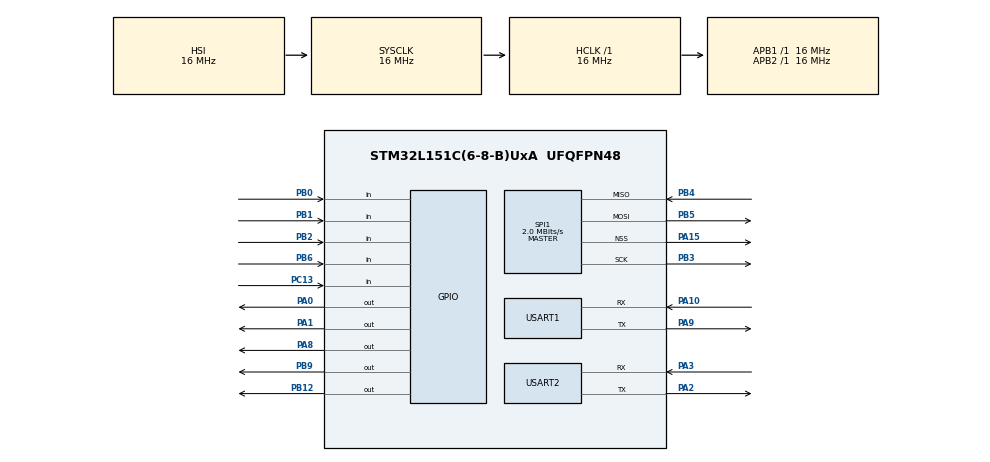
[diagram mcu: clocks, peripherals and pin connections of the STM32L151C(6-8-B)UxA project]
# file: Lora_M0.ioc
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Mcu.Family=STM32L1
Mcu.Name=STM32L151C(6-8-B)UxA
Mcu.Package=UFQFPN48
NVIC.PriorityGroup=NVIC_PRIORITYGROUP_4
NVIC.USART2_IRQn=true\:0\:0\:false\:false\:true\:true\:true
PA0-WKUP1.PinState=GPIO_PIN_SET
PA0-WKUP1.Signal=GPIO_Output
PA1.PinState=GPIO_PIN_SET
PA1.Signal=GPIO_Output
PA10.Mode=Asynchronous
PA10.Signal=USART1_RX
PA13.Signal=SYS_JTMS-SWDIO
PA14.Signal=SYS_JTCK-SWCLK
PA15.Mode=NSS_Signal_Hard_Output
PA15.Signal=SPI1_NSS
PA2.Mode=Asynchronous
PA2.Signal=USART2_TX
PA3.Mode=Asynchronous
PA3.Signal=USART2_RX
PA8.PinState=GPIO_PIN_SET
PA8.Signal=GPIO_Output
PA9.Mode=Asynchronous
PA9.Signal=USART1_TX
PB0.Signal=GPIO_Input
PB1.Signal=GPIO_Input
PB12.PinState=GPIO_PIN_SET
PB12.Signal=GPIO_Output
PB2.Signal=GPIO_Input
PB3.Mode=Full_Duplex_Master
PB3.Signal=SPI1_SCK
PB4.Mode=Full_Duplex_Master
PB4.Signal=SPI1_MISO
PB5.Mode=Full_Duplex_Master
PB5.Signal=SPI1_MOSI
PB6.Signal=GPIO_Input
PB9.PinState=GPIO_PIN_SET
PB9.Signal=GPIO_Output
PC13-WKUP2.Signal=GPIO_Input
ProjectManager.HeapSize=0x200
ProjectManager.StackSize=0x400
ProjectManager.TargetToolchain=Makefile
RCC.AHBFreq_Value=16000000
RCC.APB1Freq_Value=16000000
RCC.APB1TimFreq_Value=16000000
RCC.APB2Freq_Value=16000000
RCC.APB2TimFreq_Value=16000000
RCC.HCLKFreq_Value=16000000
RCC.HSE_VALUE=24000000
RCC.HSI_VALUE=16000000
RCC.LSE_VALUE=32768
RCC.MSI_VALUE=2097000
RCC.SYSCLKFreq_VALUE=16000000
RCC.SYSCLKSource=RCC_SYSCLKSOURCE_HSI
RCC.VCOOutputFreq_Value=48000000
SPI1.BaudRatePrescaler=SPI_BAUDRATEPRESCALER_8
SPI1.CalculateBaudRate=2.0 MBits/s
SPI1.Direction=SPI_DIRECTION_2LINES
SPI1.Mode=SPI_MODE_MASTER
SPI1.VirtualNSS=VM_NSSHARD
SPI1.VirtualType=VM_MASTER
USART1.VirtualMode=VM_ASYNC
USART2.VirtualMode=VM_ASYNC
board=custom

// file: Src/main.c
/* USER CODE BEGIN Header */
/**
  ******************************************************************************
  * @file           : main.c
  * @brief          : Main program body
  ******************************************************************************
  * @attention
  *
  * <h2><center>&copy; Copyright (c) 2019 STMicroelectronics.
  * All rights reserved.</center></h2>
  *
  * This software component is licensed by ST under BSD 3-Clause license,
  * the "License"; You may not use this file except in compliance with the
  * License. You may obtain a copy of the License at:
  *                        opensource.org/licenses/BSD-3-Clause
  *
  ******************************************************************************
  */
/* USER CODE END Header */

#include "main.h"
#include "spi.h"
#include "usart.h"
#include "gpio.h"

/* USER CODE BEGIN Includes */
#include <stdio.h>
#include <string.h>

#include "platform.h"
#include "radio.h"
#include "sx1276-Hal.h"
#include "sx1276-LoRa.h"
#include "sx1276-LoRaMisc.h"
/* USER CODE END Includes */

/* USER CODE BEGIN PV */
uint8_t RegVersion = 0;

/* USER CODE END PV */

void SystemClock_Config(void);

/* USER CODE BEGIN 0 */
char pTxData[] = "Hello";

/* USER CODE END 0 */

int main(void)
{

	/* MCU Configuration--------------------------------------------------------*/

	/* Reset of all peripherals, Initializes the Flash interface and the Systick. */
	HAL_Init();

	/* Configure the system clock */
	SystemClock_Config();

	/* Initialize all configured peripherals */
	MX_GPIO_Init();
	MX_SPI1_Init();
	MX_USART1_UART_Init();
	MX_USART2_UART_Init();

	/* Infinite loop */
	/* USER CODE BEGIN WHILE */

	HAL_GPIO_WritePin(GPIOB, GPIO_PIN_12, GPIO_PIN_RESET);
	HAL_GPIO_WritePin(GPIOA, GPIO_PIN_0, GPIO_PIN_RESET);
	HAL_GPIO_WritePin(GPIOA, GPIO_PIN_1, GPIO_PIN_RESET);

	//lora上电复位
	SX1276Read( REG_LR_VERSION, &RegVersion );
	if(RegVersion != 0x12)
	{
		printf("get RegVersion error, RegVersion = %#x\r\n", RegVersion);
	}
	else
	{
		printf("get RegVersion success, RegVersion = %#x\r\n", RegVersion);
	}
	printf("SX1276ReadDio0:-- %d--\r\n", SX1276ReadDio0());
	while (1)
	{

			HAL_GPIO_WritePin(GPIOB, GPIO_PIN_12, GPIO_PIN_SET);
			HAL_Delay(1000);
			printf("Dear, Good morning！\r\n");
			HAL_GPIO_WritePin(GPIOB, GPIO_PIN_12, GPIO_PIN_RESET);
			HAL_Delay(1000);
			printf("爱你哦～\nmua～\r\n");
			//HAL_UART_Transmit(&huart1, pTxData, strlen(pTxData),  1000);//正常，串口没有问题

		/* USER CODE END WHILE */

	}
}

void SystemClock_Config(void)
{
  RCC_OscInitTypeDef RCC_OscInitStruct = {0};
  RCC_ClkInitTypeDef RCC_ClkInitStruct = {0};

  /** Configure the main internal regulator output voltage
  */
  __HAL_PWR_VOLTAGESCALING_CONFIG(PWR_REGULATOR_VOLTAGE_SCALE1);
  /** Initializes the CPU, AHB and APB busses clocks
  */
  RCC_OscInitStruct.OscillatorType = RCC_OSCILLATORTYPE_HSI;
  RCC_OscInitStruct.HSIState = RCC_HSI_ON;
  RCC_OscInitStruct.HSICalibrationValue = RCC_HSICALIBRATION_DEFAULT;
  RCC_OscInitStruct.PLL.PLLState = RCC_PLL_NONE;
  if (HAL_RCC_OscConfig(&RCC_OscInitStruct) != HAL_OK)
  {
    Error_Handler();
  }
  /** Initializes the CPU, AHB and APB busses clocks
  */
  RCC_ClkInitStruct.ClockType = RCC_CLOCKTYPE_HCLK|RCC_CLOCKTYPE_SYSCLK
                              |RCC_CLOCKTYPE_PCLK1|RCC_CLOCKTYPE_PCLK2;
  RCC_ClkInitStruct.SYSCLKSource = RCC_SYSCLKSOURCE_HSI;
  RCC_ClkInitStruct.AHBCLKDivider = RCC_SYSCLK_DIV1;
  RCC_ClkInitStruct.APB1CLKDivider = RCC_HCLK_DIV1;
  RCC_ClkInitStruct.APB2CLKDivider = RCC_HCLK_DIV1;

  if (HAL_RCC_ClockConfig(&RCC_ClkInitStruct, FLASH_LATENCY_0) != HAL_OK)
  {
    Error_Handler();
  }
}

/* USER CODE BEGIN 4 */
//printf重定向
/*
int fputc(int ch , FILE *f)
{
	while((USART1->SR & 0x40) == 0);
	USART1->DR = (uint8_t) ch;
	return ch;
}
*/

int _write (int fd, char *pBuffer, int size)
{
    for (int i = 0; i < size; i++)
    {
        while((USART1->SR&0X40)==0);//等待上一次串口数据发送完成
        USART1->DR = (uint8_t) pBuffer[i];       //写DR,串口1将发送数据
    }
    return size;
}

/* USER CODE END 4 */

void Error_Handler(void)
{
}

/************************ (C) COPYRIGHT STMicroelectronics *****END OF FILE****/
